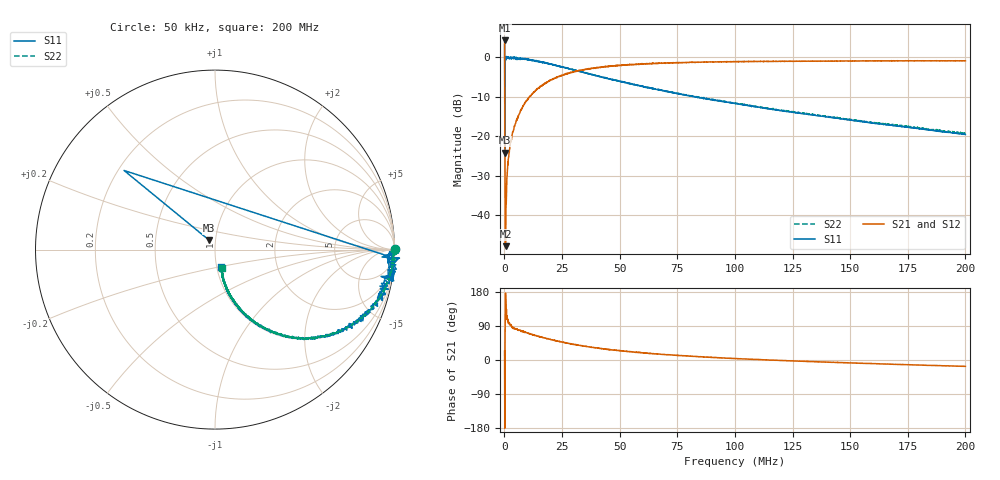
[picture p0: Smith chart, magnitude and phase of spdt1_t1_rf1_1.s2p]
! 26-Feb-26 10:47:04 AM
! E:\VNA_MEASUREMENTS\SPDT1\SPDT1_T1_RF1_1.S2P
! CHANNEL.1
! TR.MEASUREMENT
! CORRECTED.DATA
# GHZ S RI R 50.0
! FREQ.GHZ  S11RE  S11IM  S21RE  S21IM  S12RE  S12IM  S22RE  S22IM
!; PortSelection: Port_12
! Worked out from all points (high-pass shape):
!   2000 points, 50 kHz to 200 MHz, reference 50 ohm
!   highest |S21| = 4.31 dB at 50 kHz (marker M1); lowest = -47.8 dB at 450.1 kHz (marker M2)
!   |S21| within 3 dB of the highest: start of sweep to 70.01 kHz
!   lowest |S11| = -24.2 dB at 150 kHz (marker M3), VSWR 1.13, Z = 46.6 + j4.91 ohm
!   |S11| at or under -10 dB: 98.25 kHz to 218.4 kHz (120.2 kHz wide, 75.9 % of centre); 82.5 MHz to end of sweep
!   |S22| runs from -19.3 to 0.1 dB; largest |S21 - S12| = 1.6
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5e-05  0.247 1.422  1.502 0.6624  0.000727 -0.00207  1.001 0.00435
0.000150025  -0.033 0.0525  -0.292 -8.68e-05  9.03e-05 0.00202  1.009 -0.00187
0.0004501  0.9784 -0.0146  -0.00407 0.000252  -0.00214 0.0124  0.9818 -0.00785
0.001150275  0.9903 -0.0575  -0.0091 0.0303  -0.000248 0.0323  0.9897 -0.0434
0.0012503  0.9868 -0.00631  -0.0117 0.0354  -0.000822 0.0367  0.9906 -0.0462
0.001350325  0.9834 -0.0799  -0.0124 0.0377  0.00107 0.0393  0.9975 -0.0506
0.0016504  1.017 -0.0484  -0.0115 0.051  -0.00113 0.0493  0.9866 -0.0533
0.001950475  0.9734 -0.0108  -0.00944 0.061  -0.00211 0.0578  0.9895 -0.0554
0.0024506  0.9942 -0.1097  -0.00357 0.0795  0.00277 0.0752  0.9927 -0.0835
0.003150775  1.004 -0.1253  0.00477 0.0988  0.00647 0.0965  0.983 -0.1036
0.004951226  0.9595 -0.1498  0.022 0.1515  0.0207 0.1498  0.9711 -0.1625
0.007451851  0.9243 -0.238  0.0516 0.2157  0.0526 0.2163  0.9345 -0.235
0.01135283  0.8668 -0.3369  0.1183 0.3078  0.1213 0.3075  0.8702 -0.3304
0.01715428  0.7418 -0.4241  0.2395 0.3914  0.2408 0.3962  0.7452 -0.4299
0.0236559  0.6107 -0.4819  0.3781 0.4304  0.3829 0.4361  0.6095 -0.4853
0.03345835  0.4342 -0.49  0.5532 0.4198  0.5459 0.422  0.4329 -0.4951
0.04706176  0.2841 -0.4439  0.7022 0.3562  0.695 0.3522  0.2796 -0.445
0.06676668  0.1615 -0.3567  0.8122 0.2306  0.813 0.2312  0.1632 -0.3565
0.100075  0.0793 -0.2503  0.8863 0.0567  0.8829 0.0576  0.0823 -0.2532
0.1333833  0.0498 -0.1806  0.8947 -0.0635  0.8953 -0.0641  0.0519 -0.1842
0.1666917  0.0388 -0.134  0.8879 -0.1745  0.8914 -0.1713  0.0402 -0.1381
0.2  0.0358 -0.0993  0.8676 -0.2611  0.8644 -0.2637  0.0374 -0.1027
